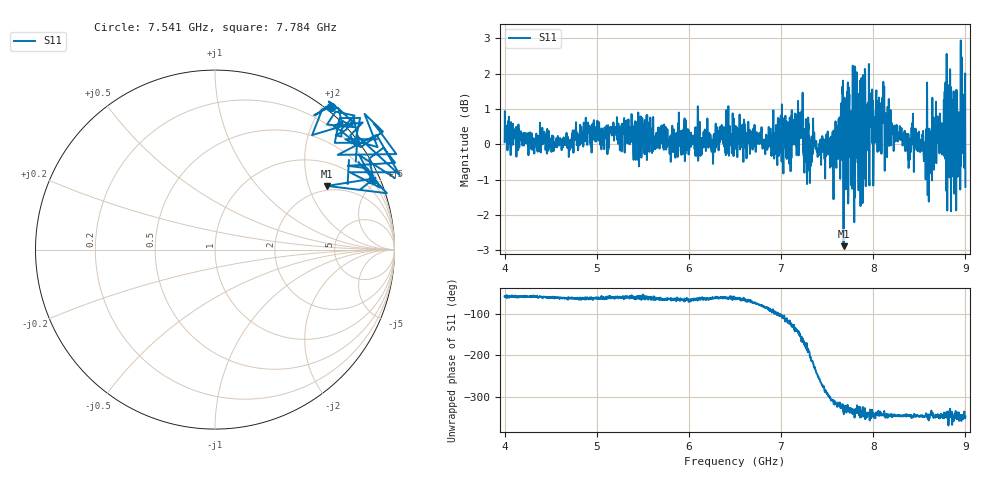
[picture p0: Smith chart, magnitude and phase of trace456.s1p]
! Created with skrf 1.8.0 (http://scikit-rf.org).
# Hz S RI R 50.0
!freq ReS11 ImS11
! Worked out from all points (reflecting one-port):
!   1601 points, 4 GHz to 9 GHz, reference 50 ohm
!   lowest |S11| = -2.9 dB at 7.678 GHz (marker M1), VSWR 6.09, Z = 90.7 + j133 ohm
!   phase of S11 starts at -58 deg and turns -289 deg over the sweep
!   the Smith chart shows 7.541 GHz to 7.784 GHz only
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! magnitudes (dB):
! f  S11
! 4 GHz  0.1
! 4.625 GHz  -0.1
! 4.988 GHz  0.3
! 5.25 GHz  -0.2
! 5.875 GHz  0.2
! 6.5 GHz  0.5
! 6.959 GHz  -0.6
! 7.125 GHz  0.6
! 7.209 GHz  0.2
! 7.262 GHz  -0.3
! 7.359 GHz  0.3
! 7.619 GHz  0.1
! 7.647 GHz  0.6
! 7.678 GHz  -2.9
! 7.716 GHz  -0.7
! 7.75 GHz  -0.4
! 7.775 GHz  0.7
! 7.828 GHz  1.0
! 8.066 GHz  -0.2
! 8.094 GHz  0.9
! 8.375 GHz  -0.2
! 8.441 GHz  -0.8
! 8.612 GHz  -0.3
! 8.666 GHz  0.3
! 8.791 GHz  -1.3
! 8.875 GHz  -0.2
! 8.972 GHz  0.4
! 9 GHz  -1.2
